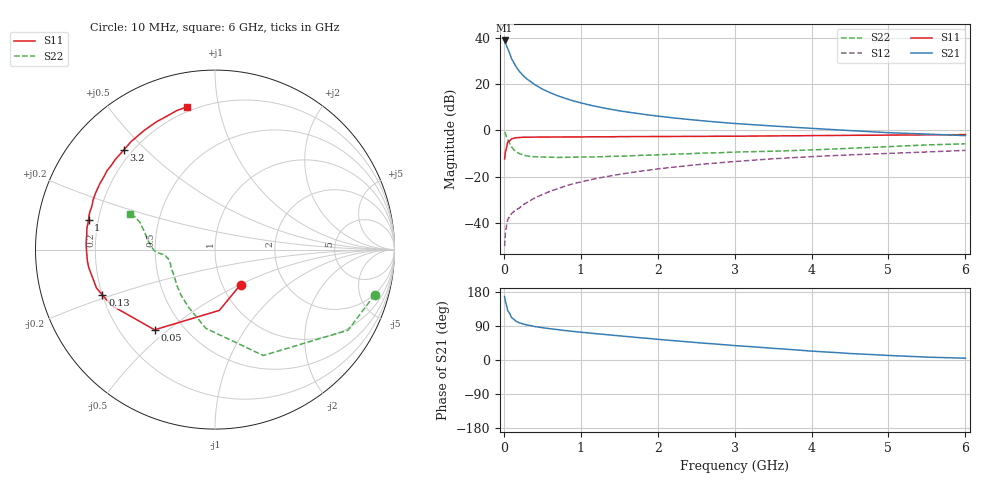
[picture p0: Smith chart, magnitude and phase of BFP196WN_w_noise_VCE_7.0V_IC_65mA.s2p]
! (c) 2017  Infineon Technologies AG, Munich
! Infineon Technologies  Discrete & RF Semiconductors
! BFP196WN
! VCE =  7.0 V,  IC =  65 mA
! Common Emitter S-Parameters:  Jan 2017
# GHz  S  MA  R  50
!  f  S11  S21  S12  S22
! GHz  MAG  ANG  MAG  ANG  MAG  ANG  MAG  ANG
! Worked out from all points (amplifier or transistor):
!   77 points, 10 MHz to 6 GHz, reference 50 ohm
!   highest |S21| = 39.0 dB at 10 MHz (marker M1)
!   |S21| within 3 dB of that: start of sweep to 43.6 MHz
!   unconditionally stable (mu >= 1): 578.9 MHz to 2.629 GHz
!   at 130 MHz: K = 0.59, MSG = 32.3 dB, |S12| = -35.1 dB
!   at 2.2 GHz: K = 1.02, MAG = 9.9 dB, |S12| = -15.9 dB
!   at 6 GHz: K = 0.90, MSG = 3.2 dB, |S12| = -8.6 dB
!   lowest NFmin = 1.43 dB at 450 MHz
!   S11 on the Smith chart (normalised r, x): 10 MHz: 1.22, -0.50; 50 MHz: 0.35, -0.45; 130 MHz: 0.20, -0.19; 1 GHz: 0.16, +0.11; 3.2 GHz: 0.17, +0.43; 6 GHz: 0.17, +0.81
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0.01  0.2415 -53.9  89.18 167.3  0.0031 80.9  0.9244 -15.8
0.02  0.3396 -85.9  81.17 154.8  0.0059 73.4  0.8668 -31.2
0.05  0.5597 -127.0  59.55 130.0  0.0116 54.4  0.6482 -65.5
0.1  0.6564 -151.8  35.92 111.8  0.0157 50.8  0.4417 -96.6
0.13  0.6766 -158.1  29.45 107.5  0.0175 51.1  0.3835 -106.5
0.15  0.6944 -162.1  25.27 103.5  0.0187 51.3  0.3528 -114.8
0.2  0.7013 -168.0  19.25 98.5  0.0207 56.3  0.3158 -127.0
0.25  0.7103 -171.7  15.53 95.0  0.0244 58.5  0.2953 -134.9
0.3  0.7134 -174.5  13.02 92.5  0.0273 60.9  0.2802 -141.6
0.4  0.7155 -179.0  9.85 88.4  0.0342 64.7  0.2686 -149.6
0.5  0.7184 177.9  7.893 85.3  0.0407 66.6  0.2651 -155.3
0.6  0.7189 175.1  6.592 82.5  0.0478 68.0  0.263 -159.5
0.8  0.7236 170.6  4.947 77.7  0.0623 69.9  0.2612 -164.1
1  0.724 166.7  3.962 73.4  0.0763 70.0  0.2647 -167.7
1.1  0.7267 164.9  3.607 71.5  0.0834 69.3  0.2657 -168.9
1.5  0.7331 158.0  2.665 63.8  0.1116 67.6  0.2763 -172.7
2.1  0.7394 148.5  1.959 52.9  0.1531 63.8  0.3008 -175.5
3.1  0.7511 133.7  1.38 36.8  0.2178 55.8  0.3426 -179.9
3.2  0.753 132.3  1.345 35.4  0.224 54.9  0.3454 179.4
4.1  0.7739 119.4  1.086 22.2  0.2754 47.2  0.384 170.4
5.1  0.7934 108.6  0.882 11.1  0.3224 39.6  0.4531 159.5
6  0.8113 100.9  0.772 4.7  0.3696 33.6  0.5129 157.0
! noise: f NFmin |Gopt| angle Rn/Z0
0.45  1.43  0.56  -176  0.05
0.9  1.55  0.58  -169  0.06
1.9  2.48  0.69  -147  0.18
2.4  3.26  0.7  -139  0.31
